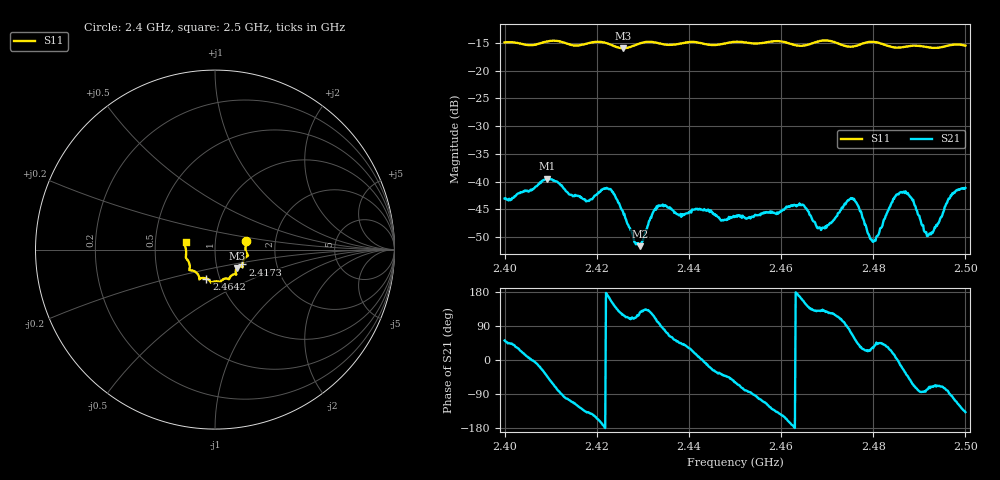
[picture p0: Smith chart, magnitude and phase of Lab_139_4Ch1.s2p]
# Hz S RI R 50
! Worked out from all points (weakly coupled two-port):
!   601 points, 2.4 GHz to 2.5 GHz, reference 50 ohm
!   highest |S21| = -39.46 dB at 2.4092 GHz (marker M1); lowest = -51.7 dB at 2.4293 GHz (marker M2)
!   lowest |S11| = -15.9 dB at 2.4257 GHz (marker M3), VSWR 1.38, Z = 62.5 - j13.1 ohm
!   |S11| at or under -10 dB: start of sweep to end of sweep
!   S12 and S22 are empty: the file has one direction only
!   S11 on the Smith chart (normalised r, x): 2.4 GHz: 1.41, +0.14; 2.4173 GHz: 1.34, -0.23; 2.4642 GHz: 0.86, -0.29; 2.5 GHz: 0.72, +0.06
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2.4e9  0.1737 0.0492  0.00439 0.0055  0 0  0 0
2.409167e9  0.1817 -0.0288  0.0079 -0.00714  0 0  0 0
2.416667e9  0.1534 -0.0751  -0.00444 -0.00565  0 0  0 0
2.417333e9  0.1525 -0.0826  -0.00486 -0.00495  0 0  0 0
2.422667e9  0.147 -0.094  -0.00821 0.00226  0 0  0 0
2.425667e9  0.1226 -0.102  -0.00268 0.00466  0 0  0 0
2.428333e9  0.1151 -0.1263  -0.00101 0.00262  0 0  0 0
2.429333e9  0.1164 -0.1332  -0.00148 0.00215  0 0  0 0
2.433333e9  0.113 -0.137  -0.00104 0.00599  0 0  0 0
2.437833e9  0.0834 -0.1536  0.00345 0.00356  0 0  0 0
2.45e9  0.0293 -0.1803  0.00256 -0.00413  0 0  0 0
2.464167e9  -0.0481 -0.1611  -0.00592 0.00155  0 0  0 0
2.466667e9  -0.0759 -0.1592  -0.00326 0.0033  0 0  0 0
2.469333e9  -0.0876 -0.1661  -0.00247 0.00291  0 0  0 0
2.4755e9  -0.1107 -0.1227  0.00289 0.00647  0 0  0 0
2.48e9  -0.1428 -0.1135  0.00243 0.00148  0 0  0 0
2.483333e9  -0.1406 -0.09  0.00479 0.00284  0 0  0 0
2.485167e9  -0.1456 -0.0704  0.00766 0.000191  0 0  0 0
2.487167e9  -0.1561 -0.0552  0.00617 -0.0049  0 0  0 0
2.492167e9  -0.1608 -0.0235  0.00111 -0.00319  0 0  0 0
2.496833e9  -0.1689 0.025  -0.00041 -0.00748  0 0  0 0
2.5e9  -0.1635 0.0415  -0.00644 -0.00591  0 0  0 0
